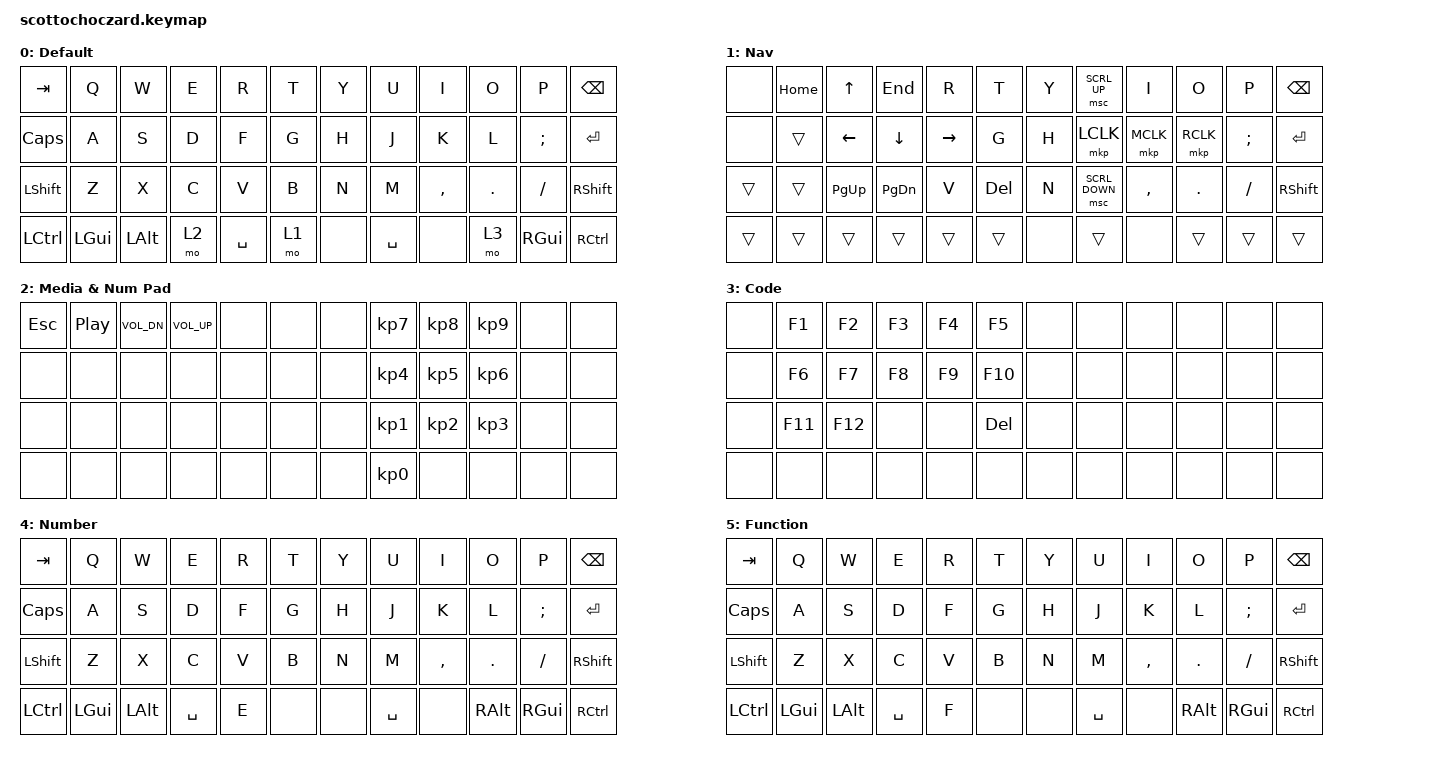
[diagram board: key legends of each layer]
#include <behaviors.dtsi>
#include <dt-bindings/zmk/keys.h>
#include <dt-bindings/zmk/bt.h>
#include <dt-bindings/zmk/pointing.h> 

// Behavior Overrides
&lt {
    tapping-term-ms = <200>;
    flavor = "hold-preferred";
};

/ {
    macros {
        spotlight: spotlight {
            compatible = "zmk,behavior-macro";
            #binding-cells = <0>;
            bindings = <&macro_press &kp LGUI>, <&macro_tap &kp SPACE>, <&macro_release &kp LGUI>; 
        };

        // Emoji
        mac_emoji: mac_emoji {
            compatible = "zmk,behavior-macro";
            #binding-cells = <0>;
            bindings = <&macro_press &kp LGUI>, <&macro_press &kp LCTRL>, <&macro_tap &kp SPACE>, <&macro_release &kp LCTRL>, <&macro_release &kp LGUI>; 
        };

        windows_emoji: windows_emoji {
            compatible = "zmk,behavior-macro";
            #binding-cells = <0>;
            bindings = <&macro_press &kp LGUI>, <&macro_tap &kp DOT>, <&macro_release &kp LGUI>; 
        };
    };

    behaviors {
        bm: bottom_row_mods {
            compatible = "zmk,behavior-hold-tap";
            #binding-cells = <2>;
            tapping-term-ms = <135>;
            quick-tap-ms = <0>;
            flavor = "tap-preferred";
            bindings = <&kp>, <&kp>;
        };

        cm: code_row_mods {
            compatible = "zmk,behavior-hold-tap";
            #binding-cells = <2>;
            tapping-term-ms = <200>;
            quick-tap-ms = <0>;
            flavor = "tap-preferred";
            bindings = <&kp>, <&kp>;
            retro-tap;
        };

        sm: space_mod {
            compatible = "zmk,behavior-hold-tap";
            #binding-cells = <2>;
            flavor = "balanced";
            tapping-term-ms = <200>;
            quick-tap-ms = <125>;
            bindings = <&kp>, <&kp>;
        };

        td_multi_mac: tap_dance_multi_mac {
            compatible = "zmk,behavior-tap-dance";
            #binding-cells = <0>;
            tapping-term-ms = <200>;
            bindings = <&sm ESC LALT>, <&spotlight>, <&kp LCTRL>, <&mac_emoji>;
        };

        td_multi_windows: tap_dance_multi_windows {
            compatible = "zmk,behavior-tap-dance";
            #binding-cells = <0>;
            tapping-term-ms = <200>;
            bindings = <&sm ESC LALT>, <&kp LGUI>, <&windows_emoji>;
        };
    };
    
    keymap {
        compatible = "zmk,keymap";

        default_layer {
            display-name = "Default";
            bindings = <
                &kp TAB     &kp Q       &kp W       &kp E       &kp R      &kp T          &kp Y       &kp U       &kp I       &kp O       &kp P       &kp BSPC
                &kp CAPS    &kp A       &kp S       &kp D       &kp F      &kp G          &kp H       &kp J       &kp K       &kp L       &kp SEMI    &kp ENTER
                &kp LSHFT   &kp Z       &kp X       &kp C       &kp V      &kp B          &kp N       &kp M       &kp COMMA   &kp DOT     &kp FSLH    &kp RSHFT
                &kp LCTRL   &kp LGUI    &kp LALT    &mo 2       &kp SPACE  &mo 1          &none       &kp SPACE   &none       &mo 3       &kp RGUI    &kp RCTRL
            >;
        };

        nav_layer {
            display-name = "Nav";
            bindings = <
                &none       &kp HOME    &kp UP      &kp END     &kp R      &kp T          &kp Y     &msc SCRL_UP  &kp I       &kp O       &kp P       &kp BSPC
                &none       &trans      &kp LEFT    &kp DOWN    &kp RIGHT  &kp G          &kp H       &mkp LCLK   &mkp MCLK   &mkp RCLK   &kp SEMI    &kp ENTER
                &trans      &trans      &kp PG_UP   &kp PG_DN   &kp V      &kp DEL        &kp N    &msc SCRL_DOWN &kp COMMA   &kp DOT     &kp FSLH    &kp RSHFT
                &trans      &trans      &trans      &trans      &trans     &trans         &none       &trans      &none       &trans      &trans      &trans
            >;
        };

        media_num_layer {
            display-name = "Media & Num Pad";
            bindings = <
                &kp ESC   &kp C_PP  &kp C_VOL_DN  &kp C_VOL_UP  &none       &none          &none       &kp KP_N7   &kp KP_N8   &kp KP_N9   &none       &none       
                &none       &none       &none       &none       &none       &none          &none       &kp KP_N4   &kp KP_N5   &kp KP_N6   &none       &none
                &none       &none       &none       &none       &none       &none          &none       &kp KP_N1   &kp KP_N2   &kp KP_N3   &none       &none
                &none       &none       &none       &none       &none       &none          &none       &kp KP_N0   &none       &none       &none       &none
            >;
        };

        fkey_layer {
            display-name = "Code";
            bindings = <
                &none       &kp F1      &kp F2      &kp F3      &kp F4      &kp F5         &none       &none       &none       &none       &none       &none
                &none       &kp F6      &kp F7      &kp F8      &kp F9      &kp F10        &none       &none       &none       &none       &none       &none
                &none       &kp F11     &kp F12     &none       &none       &kp DEL        &none       &none       &none       &none       &none       &none
                &none       &none       &none       &none       &none       &none          &none       &none       &none       &none       &none       &none 
            >;
        };

        number_layer {
            display-name = "Number";
            bindings = < 
                &kp TAB     &kp Q       &kp W       &kp E       &kp R      &kp T          &kp Y       &kp U       &kp I       &kp O       &kp P       &kp BSPC
                &kp CAPS    &kp A       &kp S       &kp D       &kp F      &kp G          &kp H       &kp J       &kp K       &kp L       &kp SEMI    &kp ENTER
                &kp LSHFT   &kp Z       &kp X       &kp C       &kp V      &kp B          &kp N       &kp M       &kp COMMA   &kp DOT     &kp FSLH    &kp RSHFT
                &kp LCTRL   &kp LGUI    &kp LALT    &kp SPACE   &kp E      &none          &none       &kp SPACE   &none       &kp RALT    &kp RGUI    &kp RCTRL
            >;
        };

        function_layer {
            display-name = "Function";
            bindings =<
                &kp TAB     &kp Q       &kp W       &kp E       &kp R      &kp T          &kp Y       &kp U       &kp I       &kp O       &kp P       &kp BSPC
                &kp CAPS    &kp A       &kp S       &kp D       &kp F      &kp G          &kp H       &kp J       &kp K       &kp L       &kp SEMI    &kp ENTER
                &kp LSHFT   &kp Z       &kp X       &kp C       &kp V      &kp B          &kp N       &kp M       &kp COMMA   &kp DOT     &kp FSLH    &kp RSHFT
                &kp LCTRL   &kp LGUI    &kp LALT    &kp SPACE   &kp F      &none          &none       &kp SPACE   &none       &kp RALT    &kp RGUI    &kp RCTRL
            >;
        };
    };
};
